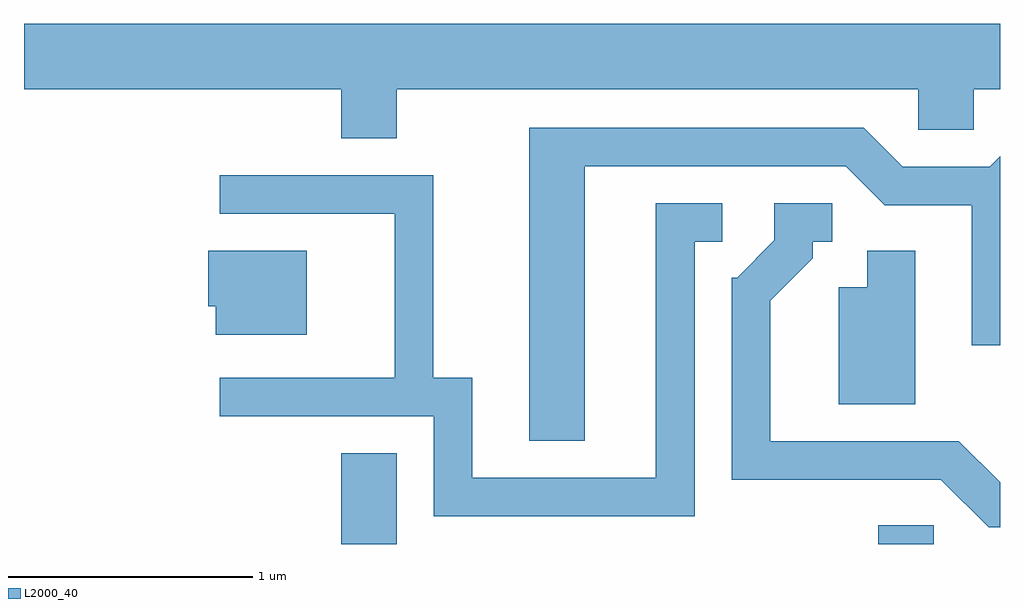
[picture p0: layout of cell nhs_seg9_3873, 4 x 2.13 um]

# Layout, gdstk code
import gdstk
lib = gdstk.Library(unit=1e-6, precision=1e-09)
def R(c, l, rs):  # rectangles x0, y0, x1, y1
    for r in rs: c.add(gdstk.rectangle(r[:2], r[2:], *l))
def P(c, l, *ps):  # polygons
    for p in ps: c.add(gdstk.Polygon(p, *l))
L2000_40 = (2000, 40)

nhs_seg9_3873 = lib.new_cell('nhs_seg9_3873')
R(nhs_seg9_3873, L2000_40, [(300.911,1954.432,301.139,1954.804), (303.111,1954.432,303.339,1954.509)])
P(nhs_seg9_3873, L2000_40, [(301.139,1956.296),(303.276,1956.296),(303.276,1956.131),(303.504,1956.131),(303.504,1956.296),(303.611,1956.296),(303.611,1956.564),(299.611,1956.564),(299.611,1956.296),(300.911,1956.296),(300.911,1956.096),(301.139,1956.096)],
  [(301.909,1955.981),(302.979,1955.981),(303.139,1955.821),(303.496,1955.821),(303.496,1955.248),(303.611,1955.248),(303.611,1956.021),(303.569,1955.979),(303.212,1955.979),(303.052,1956.139),(301.681,1956.139),(301.681,1954.856),(301.909,1954.856)],
  [(302.359,1955.671),(302.473,1955.671),(302.473,1955.829),(302.201,1955.829),(302.201,1954.704),(301.449,1954.704),(301.449,1955.114),(301.289,1955.114),(301.289,1955.944),(300.413,1955.944),(300.413,1955.786),(301.131,1955.786),(301.131,1955.114),(300.413,1955.114),(300.413,1954.956),(301.291,1954.956),(301.291,1954.546),(302.359,1954.546)],
  [(303.611,1954.685),(303.442,1954.854),(302.669,1954.854),(302.669,1955.429),(302.844,1955.604),(302.844,1955.671),(302.923,1955.671),(302.923,1955.829),(302.686,1955.829),(302.686,1955.677),(302.534,1955.524),(302.511,1955.524),(302.511,1954.696),(303.369,1954.696),(303.564,1954.501),(303.611,1954.501)],
  [(300.769,1955.634),(300.366,1955.634),(300.366,1955.406),(300.396,1955.406),(300.396,1955.291),(300.769,1955.291)],
  [(303.264,1955.634),(303.066,1955.634),(303.066,1955.484),(302.951,1955.484),(302.951,1955.006),(303.264,1955.006)])

lib.write_gds('nhs_seg9_3873.gds')
